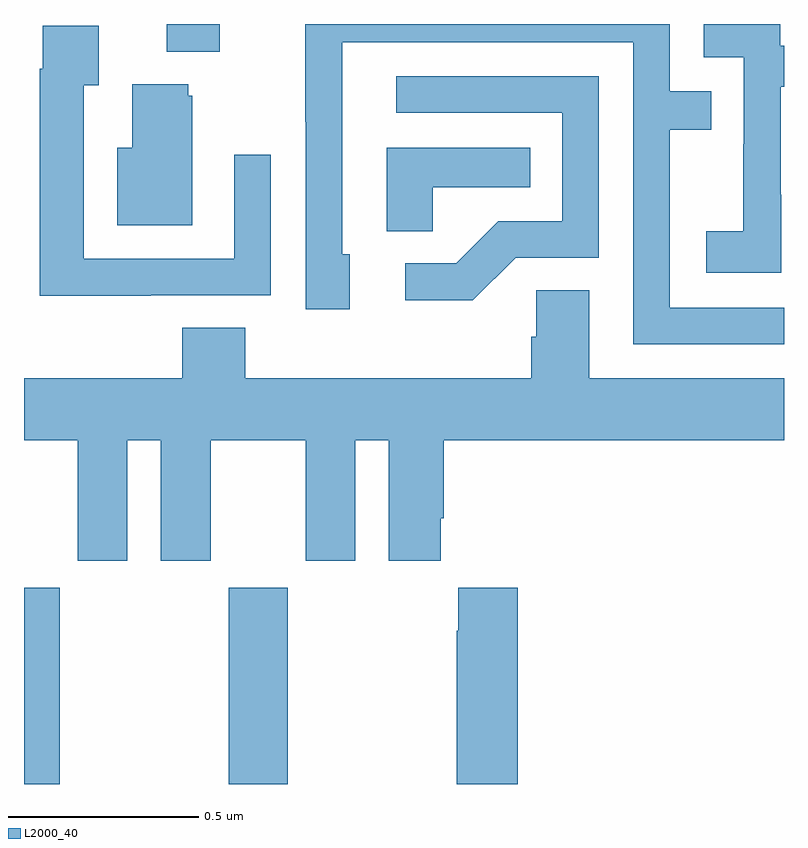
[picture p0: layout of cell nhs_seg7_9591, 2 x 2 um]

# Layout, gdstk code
import gdstk
lib = gdstk.Library(unit=1e-6, precision=1e-09)
def R(c, l, rs):  # rectangles x0, y0, x1, y1
    for r in rs: c.add(gdstk.rectangle(r[:2], r[2:], *l))
def P(c, l, *ps):  # polygons
    for p in ps: c.add(gdstk.Polygon(p, *l))
L2000_40 = (2000, 40)

nhs_seg7_9591 = lib.new_cell('nhs_seg7_9591')
R(nhs_seg7_9591, L2000_40, [(239,1045,239.094,1045.516), (239.539,1045,239.694,1045.516), (239.375,1046.927,239.515,1047)])
P(nhs_seg7_9591, L2000_40, [(241,1046.253),(240.699,1046.253),(240.699,1046.722),(240.809,1046.722),(240.809,1046.823),(240.699,1046.823),(240.699,1047),(239.74,1047),(239.74,1046.743),(239.742,1046.743),(239.742,1046.25),(239.857,1046.25),(239.857,1046.394),(239.838,1046.394),(239.838,1046.952),(240.603,1046.952),(240.603,1046.157),(241,1046.157)],
  [(240.993,1046.551),(240.992,1046.551),(240.992,1046.835),(241,1046.835),(241,1046.943),(240.99,1046.943),(240.99,1047),(240.789,1047),(240.789,1046.913),(240.894,1046.913),(240.894,1046.684),(240.893,1046.684),(240.893,1046.455),(240.795,1046.455),(240.795,1046.345),(240.993,1046.345)],
  [(239.333,1046.286),(239.649,1046.286),(239.649,1046.656),(239.553,1046.656),(239.553,1046.382),(239.157,1046.382),(239.157,1046.839),(239.197,1046.839),(239.197,1046.995),(239.049,1046.995),(239.049,1046.882),(239.041,1046.882),(239.041,1046.285),(239.333,1046.285)],
  [(240.294,1046.385),(240.513,1046.385),(240.513,1046.862),(239.979,1046.862),(239.979,1046.766),(240.417,1046.766),(240.417,1046.481),(240.248,1046.481),(240.137,1046.37),(240.003,1046.37),(240.003,1046.273),(240.181,1046.273)],
  [(239.443,1046.811),(239.432,1046.811),(239.432,1046.842),(239.285,1046.842),(239.285,1046.674),(239.246,1046.674),(239.246,1046.471),(239.443,1046.471)],
  [(240.075,1046.57),(240.332,1046.57),(240.332,1046.674),(239.954,1046.674),(239.954,1046.455),(240.075,1046.455)],
  [(239.272,1045.904),(239.36,1045.904),(239.36,1045.587),(239.491,1045.587),(239.491,1045.904),(239.741,1045.904),(239.741,1045.587),(239.872,1045.587),(239.872,1045.904),(239.96,1045.904),(239.96,1045.587),(240.097,1045.587),(240.097,1045.699),(240.104,1045.699),(240.104,1045.904),(241,1045.904),(241,1046.068),(240.487,1046.068),(240.487,1046.3),(240.348,1046.3),(240.348,1046.177),(240.335,1046.177),(240.335,1046.068),(239.582,1046.068),(239.582,1046.201),(239.417,1046.201),(239.417,1046.068),(239,1046.068),(239,1045.904),(239.141,1045.904),(239.141,1045.587),(239.272,1045.587)],
  [(240.299,1045.516),(240.143,1045.516),(240.143,1045.403),(240.139,1045.403),(240.139,1045),(240.299,1045)])

lib.write_gds('nhs_seg7_9591.gds')
